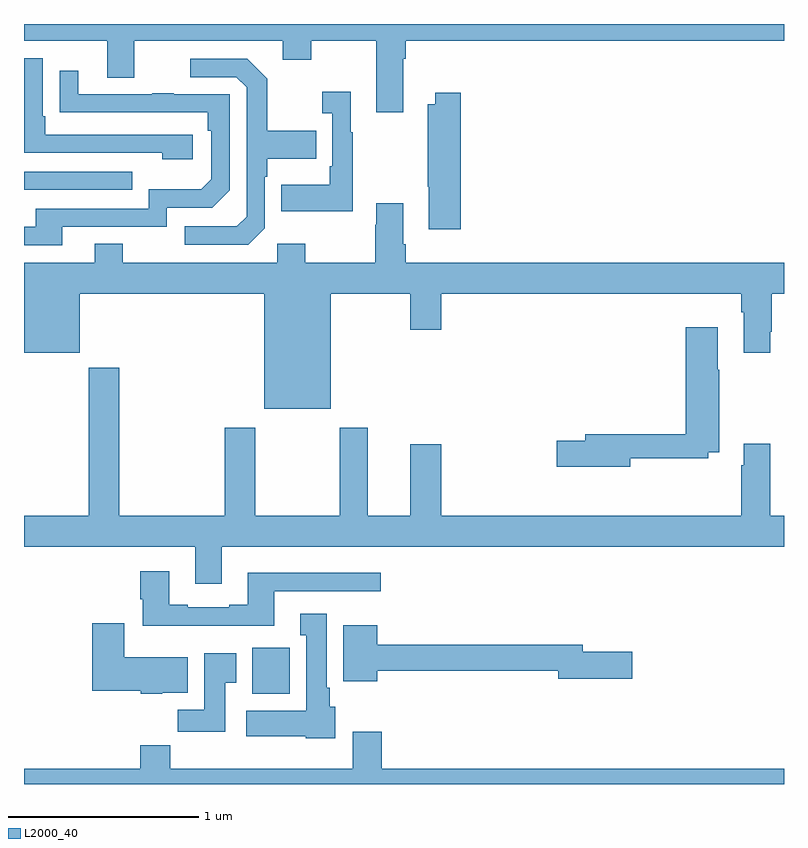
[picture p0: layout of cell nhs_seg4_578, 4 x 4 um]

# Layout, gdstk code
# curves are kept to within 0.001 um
import gdstk
lib = gdstk.Library(unit=1e-6, precision=1e-09)
def R(c, l, rs):  # rectangles x0, y0, x1, y1
    for r in rs: c.add(gdstk.rectangle(r[:2], r[2:], *l))
def P(c, l, *ps):  # polygons
    for p in ps: c.add(gdstk.Polygon(p, *l))
L2000_40 = (2000, 40)

nhs_seg4_578 = lib.new_cell('nhs_seg4_578')
R(nhs_seg4_578, L2000_40, [(140.201,801.374,140.398,801.616), (139,804.027,139.571,804.123)])
P(nhs_seg4_578, L2000_40, [(140.995,804.716),(141.008,804.716),(141.008,804.812),(143,804.812),(143,804.9),(139,804.9),(139,804.812),(139.439,804.812),(139.439,804.618),(139.579,804.618),(139.579,804.812),(140.363,804.812),(140.363,804.713),(140.511,804.713),(140.511,804.812),(140.855,804.812),(140.855,804.435),(140.995,804.435)],
  [(139.888,804.318),(139.111,804.318),(139.111,804.415),(139.098,804.415),(139.098,804.72),(139,804.72),(139,804.624),(139.002,804.624),(139.002,804.222),(139.727,804.222),(139.727,804.188),(139.888,804.188)],
  [(140.268,803.826),(140.268,804.095),(140.281,804.095),(140.281,804.191),(140.537,804.191),(140.537,804.339),(140.281,804.339),(140.281,804.611),(140.175,804.717),(139.875,804.717),(139.875,804.621),(140.118,804.621),(140.172,804.567),(140.172,803.886),(140.121,803.835),(139.845,803.835),(139.845,803.739),(140.181,803.739)],
  [(139.201,803.832),(139.752,803.832),(139.752,803.934),(139.992,803.934),(140.082,804.024),(140.082,804.531),(139.787,804.531),(139.787,804.536),(139.675,804.536),(139.675,804.531),(139.285,804.531),(139.285,804.655),(139.189,804.655),(139.189,804.436),(139.966,804.435),(139.966,804.338),(139.986,804.338),(139.986,804.084),(139.933,804.031),(139.656,804.031),(139.656,803.928),(139.061,803.928),(139.061,803.832),(139,803.832),(139,803.736),(139.201,803.736)],
  [(140.731,804.331),(140.719,804.331),(140.719,804.544),(140.571,804.544),(140.571,804.431),(140.622,804.431),(140.622,804.151),(140.61,804.151),(140.61,804.055),(140.353,804.055),(140.353,803.915),(140.731,803.915)],
  [(141.299,804.538),(141.164,804.538),(141.164,804.478),(141.124,804.478),(141.124,804.043),(141.131,804.043),(141.131,803.82),(141.299,803.82)],
  [(140.614,803.48),(141.032,803.48),(141.032,803.292),(141.196,803.292),(141.196,803.48),(142.775,803.48),(142.775,803.384),(142.787,803.384),(142.787,803.169),(142.927,803.169),(142.927,803.281),(142.935,803.281),(142.935,803.48),(143,803.48),(143,803.644),(141.008,803.644),(141.008,803.74),(140.995,803.74),(140.995,803.956),(140.855,803.956),(140.855,803.843),(140.848,803.843),(140.848,803.644),(140.481,803.644),(140.481,803.743),(140.334,803.743),(140.334,803.644),(139.521,803.644),(139.521,803.743),(139.373,803.743),(139.373,803.644),(139,803.644),(139,803.171),(139.294,803.171),(139.294,803.48),(140.264,803.48),(140.264,802.874),(140.614,802.874)],
  [(142.192,802.614),(142.602,802.614),(142.602,802.646),(142.659,802.646),(142.659,803.081),(142.651,803.081),(142.651,803.305),(142.484,803.305),(142.484,802.742),(141.953,802.742),(141.953,802.706),(141.804,802.706),(141.804,802.571),(142.192,802.571)],
  [(143,802.312),(142.927,802.312),(142.927,802.69),(142.787,802.69),(142.787,802.577),(142.775,802.577),(142.775,802.312),(141.196,802.312),(141.196,802.687),(141.032,802.687),(141.032,802.312),(140.809,802.312),(140.809,802.774),(140.662,802.774),(140.662,802.312),(140.217,802.312),(140.217,802.774),(140.057,802.774),(140.057,802.312),(139.502,802.312),(139.502,803.092),(139.342,803.092),(139.342,802.312),(139,802.312),(139,802.148),(139.901,802.148),(139.901,801.954),(140.041,801.954),(140.041,802.148),(143,802.148)],
  [(140.317,801.915),(140.878,801.915),(140.878,802.012),(140.177,802.012),(140.177,801.844),(140.081,801.844),(140.081,801.831),(139.861,801.831),(139.861,801.844),(139.765,801.844),(139.765,802.021),(139.613,802.021),(139.613,801.873),(139.625,801.873),(139.625,801.734),(140.317,801.734)],
  [(140.638,801.306),(140.608,801.306),(140.608,801.406),(140.593,801.406),(140.593,801.796),(140.453,801.796),(140.453,801.683),(140.486,801.683),(140.486,801.286),(140.169,801.286),(140.169,801.152),(140.484,801.152),(140.484,801.14),(140.638,801.14)],
  [(139.728,801.38),(139.861,801.38),(139.861,801.568),(139.528,801.568),(139.528,801.745),(139.358,801.745),(139.358,801.392),(139.614,801.392),(139.614,801.374),(139.728,801.374)],
  [(140.86,801.496),(141.812,801.496),(141.812,801.454),(142.201,801.454),(142.201,801.596),(141.94,801.596),(141.94,801.632),(140.86,801.632),(140.86,801.736),(140.681,801.736),(140.681,801.44),(140.86,801.44)],
  [(140.059,801.433),(140.116,801.433),(140.116,801.589),(139.949,801.589),(139.949,801.292),(139.81,801.292),(139.81,801.174),(140.059,801.174)],
  [(143,800.98),(140.882,800.98),(140.882,801.175),(140.729,801.175),(140.729,800.98),(139.769,800.98),(139.769,801.104),(139.613,801.104),(139.613,800.98),(139,800.98),(139,800.9),(143,800.9)])

lib.write_gds('nhs_seg4_578.gds')
